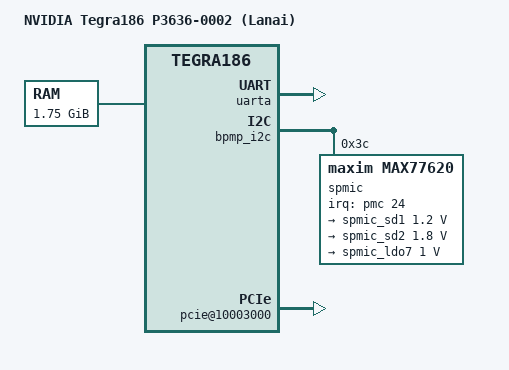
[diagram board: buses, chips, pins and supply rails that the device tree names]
// SPDX-License-Identifier: GPL-2.0

/dts-v1/;


#include "tegra186.dtsi"

#include <dt-bindings/interrupt-controller/irq.h>
#include <dt-bindings/mfd/max77620.h>

/ {
	model = "NVIDIA Tegra186 P3636-0002 (Lanai)";
	compatible = "nvidia,lanai",
		     "nvidia,p3636-0002-lanai",
		     "nvidia,tegra186";

	aliases {
		serial0 = &uarta;
	};

	chosen {
		bootargs = "earlycon console=ttyS0,115200n8";
		stdout-path = "serial0:115200n8";
	};

	/*
	 * Preserve the memory description from NVIDIA's original
	 * P3636-0002 board DTS for the first bring-up.
	 */
	memory@80000000 {
		device_type = "memory";
		reg = <0x0 0x80000000 0x0 0x70000000>;
	};
};

&uarta {
	status = "okay";
};

/*
 * MAX77620 on Tegra186 BPMP I2C bus.
 *
 * For the initial NVMe bring-up we describe only the PMIC rails
 * required by PCIe:
 *
 *   SD1  = 1.2 V, upstream supply for LDO7/8
 *   SD2  = 1.8 V, PCIe HVDD / PLL / IO
 *   LDO7 = 1.0 V, PCIe DVDD
 *
 * These values come from NVIDIA's P3636 board DTS rather than
 * the P3310/TX2 regulator assignments.
 */
&bpmp_i2c {
	status = "okay";

	spmic: pmic@3c {
		compatible = "maxim,max77620";
		reg = <0x3c>;

		interrupt-parent = <&pmc>;
		interrupts = <24 IRQ_TYPE_LEVEL_LOW>;

		#interrupt-cells = <2>;
		interrupt-controller;

		#gpio-cells = <2>;
		gpio-controller;

		pinctrl-names = "default";
		pinctrl-0 = <&spmic_default>;

		spmic_default: pinmux {
			gpio0 {
				pins = "gpio0";
				function = "gpio";
			};

			gpio1 {
				pins = "gpio1";
				function = "fps-out";
				maxim,active-fps-source =
					<MAX77620_FPS_SRC_0>;
			};

			gpio2 {
				pins = "gpio2";
				function = "fps-out";
				maxim,active-fps-source =
					<MAX77620_FPS_SRC_1>;
			};

			gpio3 {
				pins = "gpio3";
				function = "fps-out";
				maxim,active-fps-source =
					<MAX77620_FPS_SRC_1>;
			};

			gpio4 {
				pins = "gpio4";
				function = "32k-out1";
				drive-push-pull = <1>;
			};

			gpio5 {
				pins = "gpio5";
				function = "gpio";
				drive-push-pull = <0>;
			};

			gpio6 {
				pins = "gpio6";
				function = "gpio";
				drive-push-pull = <1>;
			};

			gpio7 {
				pins = "gpio7";
				function = "gpio";
				drive-push-pull = <1>;
			};
		};

		fps {
			fps0 {
				maxim,fps-event-source =
					<MAX77620_FPS_EVENT_SRC_EN0>;
				maxim,shutdown-fps-time-period-us = <640>;
			};

			fps1 {
				maxim,fps-event-source =
					<MAX77620_FPS_EVENT_SRC_EN1>;
				maxim,shutdown-fps-time-period-us = <640>;
			};

			fps2 {
				maxim,fps-event-source =
					<MAX77620_FPS_EVENT_SRC_EN0>;
				maxim,shutdown-fps-time-period-us = <640>;
			};
		};

		regulators {
			/*
			 * P3636 hardware has LDO7/8 fed from SD1.
			 */
			in-ldo7-8-supply = <&spmic_sd1>;

			spmic_sd1: sd1 {
				regulator-name = "avdd_dsi_csi";
				regulator-min-microvolt = <1200000>;
				regulator-max-microvolt = <1200000>;
				regulator-always-on;
				regulator-boot-on;
				maxim,active-fps-source =
					<MAX77620_FPS_SRC_DEF>;
			};

			spmic_sd2: sd2 {
				regulator-name = "vdd-1v8";
				regulator-min-microvolt = <1800000>;
				regulator-max-microvolt = <1800000>;
				regulator-always-on;
				regulator-boot-on;
				maxim,active-fps-source =
					<MAX77620_FPS_SRC_DEF>;
			};

			spmic_ldo7: ldo7 {
				regulator-name = "vdd-pex-1v00";
				regulator-min-microvolt = <1000000>;
				regulator-max-microvolt = <1000000>;
				regulator-always-on;
				regulator-boot-on;
				maxim,active-fps-source =
					<MAX77620_FPS_SRC_DEF>;
			};
		};
	};
};

/*
 * P3636-0002 PCIe configuration.
 *
 * The complete controller itself already lives in tegra186.dtsi.
 */
&{/pcie@10003000} {
	status = "okay";

	dvdd-pex-supply = <&spmic_ldo7>;
	hvdd-pex-pll-supply = <&spmic_sd2>;
	hvdd-pex-supply = <&spmic_sd2>;
	vddio-pexctl-aud-supply = <&spmic_sd2>;

	pci@1,0 {
		nvidia,num-lanes = <2>;
		nvidia,disable-clock-request;
		status = "okay";
	};

	pci@2,0 {
		nvidia,num-lanes = <1>;
		nvidia,disable-clock-request;
		status = "okay";
	};

	pci@3,0 {
		nvidia,num-lanes = <1>;
		nvidia,disable-clock-request;
		status = "okay";
	};
};
